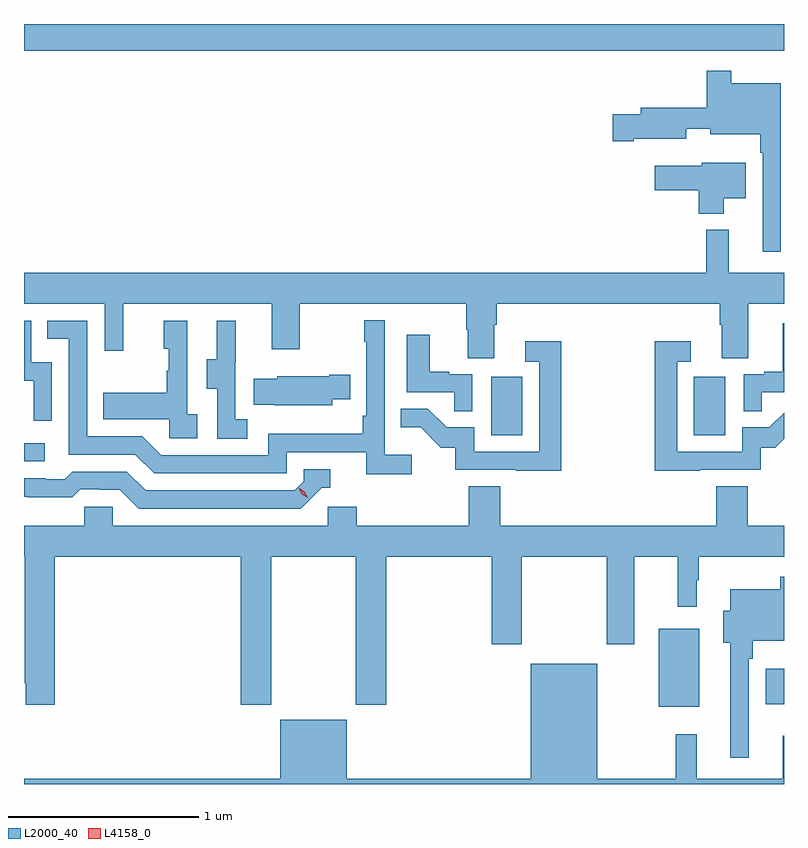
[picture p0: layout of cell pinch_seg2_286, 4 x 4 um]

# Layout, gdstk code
import gdstk
lib = gdstk.Library(unit=1e-6, precision=1e-09)
def R(c, l, rs):  # rectangles x0, y0, x1, y1
    for r in rs: c.add(gdstk.rectangle(r[:2], r[2:], *l))
def P(c, l, *ps):  # polygons
    for p in ps: c.add(gdstk.Polygon(p, *l))
L2000_40 = (2000, 40)
L4158_0 = (4158, 0)

pinch_seg2_286 = lib.new_cell('pinch_seg2_286')
R(pinch_seg2_286, L2000_40, [(943.022,636.191,943.237,636.601), (943.586,636.203,943.682,636.391), (939.682,637.482,939.79,637.578), (942.14,637.62,942.304,637.927), (943.208,637.62,943.372,637.927), (939.682,639.644,943.682,639.784)])
P(pinch_seg2_286, L2000_40, [(943.666,639.472),(943.405,639.472),(943.405,639.538),(943.276,639.538),(943.276,639.343),(942.929,639.343),(942.929,639.309),(942.78,639.309),(942.78,639.167),(942.892,639.167),(942.892,639.179),(943.168,639.179),(943.168,639.233),(943.295,639.233),(943.295,639.203),(943.557,639.203),(943.557,639.107),(943.569,639.107),(943.569,638.586),(943.666,638.586)],
  [(943.366,638.867),(943.48,638.867),(943.48,639.055),(943.248,639.055),(943.248,639.037),(943.002,639.037),(943.002,638.908),(943.232,638.908),(943.232,638.786),(943.366,638.786)],
  [(939.682,638.312),(940.107,638.312),(940.107,638.064),(940.205,638.064),(940.205,638.312),(940.985,638.312),(940.985,638.073),(941.133,638.073),(941.133,638.312),(942.01,638.312),(942.01,638.175),(942.017,638.175),(942.017,638.026),(942.157,638.026),(942.157,638.2),(942.17,638.2),(942.17,638.312),(943.343,638.312),(943.343,638.2),(943.355,638.2),(943.355,638.026),(943.495,638.026),(943.495,638.312),(943.682,638.312),(943.682,638.476),(943.391,638.476),(943.391,638.701),(943.273,638.701),(943.273,638.476),(939.682,638.476)],
  [(941.722,637.516),(941.58,637.516),(941.58,638.224),(941.472,638.224),(941.472,638.111),(941.484,638.111),(941.484,637.723),(941.464,637.723),(941.464,637.627),(940.968,637.627),(940.968,637.515),(940.404,637.515),(940.305,637.614),(940.014,637.614),(940.014,638.223),(939.805,638.223),(939.805,638.127),(939.918,638.127),(939.918,637.518),(940.268,637.518),(940.367,637.419),(941.064,637.419),(941.064,637.53),(941.483,637.53),(941.483,637.414),(941.722,637.414)],
  [(939.828,638.004),(939.72,638.004),(939.72,638.223),(939.682,638.223),(939.682,637.907),(939.732,637.907),(939.732,637.695),(939.828,637.695)],
  [(940.858,637.703),(940.794,637.703),(940.794,638.007),(940.796,638.007),(940.796,638.221),(940.697,638.221),(940.697,638.019),(940.643,638.019),(940.643,637.864),(940.698,637.864),(940.698,637.6),(940.858,637.6)],
  [(940.594,637.73),(940.542,637.73),(940.542,638.221),(940.418,638.221),(940.418,638.076),(940.444,638.076),(940.444,637.958),(940.434,637.958),(940.434,637.843),(940.099,637.843),(940.099,637.703),(940.446,637.703),(940.446,637.605),(940.594,637.605)],
  [(943.565,637.845),(943.682,637.845),(943.682,638.209),(943.676,638.209),(943.676,637.954),(943.577,637.954),(943.577,637.941),(943.47,637.941),(943.47,637.747),(943.565,637.747)],
  [(942.042,637.941),(941.921,637.941),(941.921,637.954),(941.818,637.954),(941.818,638.149),(941.696,638.149),(941.696,637.845),(941.947,637.845),(941.947,637.747),(942.042,637.747)],
  [(943.241,637.437),(943.56,637.437),(943.56,637.554),(943.636,637.554),(943.682,637.6),(943.682,637.739),(943.605,637.662),(943.461,637.662),(943.461,637.533),(943.119,637.533),(943.119,638.007),(943.192,638.007),(943.192,638.113),(943.003,638.113),(943.003,637.432),(943.241,637.432)],
  [(942.509,638.113),(942.321,638.113),(942.321,638.007),(942.393,638.007),(942.393,637.533),(942.051,637.533),(942.051,637.662),(941.906,637.662),(941.808,637.76),(941.665,637.76),(941.665,637.661),(941.769,637.661),(941.876,637.554),(941.953,637.554),(941.953,637.437),(942.271,637.437),(942.271,637.432),(942.509,637.432)],
  [(941.305,637.808),(941.399,637.808),(941.399,637.938),(941.288,637.938),(941.288,637.93),(941.016,637.93),(941.016,637.918),(940.891,637.918),(940.891,637.781),(940.999,637.781),(940.999,637.778),(941.305,637.778)],
  [(941.25,637.344),(941.293,637.344),(941.293,637.44),(941.154,637.44),(941.154,637.377),(941.106,637.329),(940.323,637.329),(940.224,637.428),(939.935,637.428),(939.896,637.389),(939.797,637.389),(939.797,637.392),(939.682,637.392),(939.682,637.295),(939.702,637.295),(939.702,637.293),(939.935,637.293),(939.977,637.335),(940.08,637.335),(940.08,637.332),(940.187,637.332),(940.286,637.233),(941.139,637.233)],
  [(939.845,636.98),(940.823,636.98),(940.823,636.201),(940.983,636.201),(940.983,636.98),(941.428,636.98),(941.428,636.201),(941.588,636.201),(941.588,636.98),(942.143,636.98),(942.143,636.519),(942.303,636.519),(942.303,636.98),(942.748,636.98),(942.748,636.519),(942.895,636.519),(942.895,636.98),(943.123,636.98),(943.123,636.717),(943.222,636.717),(943.222,636.857),(943.234,636.857),(943.234,636.98),(943.682,636.98),(943.682,637.144),(943.49,637.144),(943.49,637.352),(943.325,637.352),(943.325,637.144),(942.188,637.144),(942.188,637.352),(942.023,637.352),(942.023,637.144),(941.432,637.144),(941.432,637.242),(941.28,637.242),(941.28,637.144),(940.149,637.144),(940.149,637.242),(939.999,637.242),(939.999,637.144),(939.682,637.144),(939.682,636.98),(939.685,636.98),(939.685,636.313),(939.691,636.313),(939.691,636.201),(939.845,636.201)],
  [(943.497,636.443),(943.517,636.443),(943.517,636.539),(943.682,636.539),(943.682,636.874),(943.662,636.874),(943.662,636.808),(943.4,636.808),(943.4,636.697),(943.361,636.697),(943.361,636.527),(943.4,636.527),(943.4,635.922),(943.497,635.922)],
  [(943.682,636.037),(943.676,636.037),(943.676,635.812),(943.223,635.812),(943.223,636.046),(943.113,636.046),(943.113,635.812),(942.7,635.812),(942.7,636.418),(942.35,636.418),(942.35,635.812),(941.38,635.812),(941.38,636.121),(941.03,636.121),(941.03,635.812),(939.682,635.812),(939.682,635.784),(943.682,635.784)])
P(pinch_seg2_286, L4158_0, [(941.176,637.29),(941.145,637.31),(941.129,637.342),(941.129,637.343),(941.129,637.343),(941.16,637.323),(941.176,637.29),(941.176,637.29)])

lib.write_gds('pinch_seg2_286.gds')
